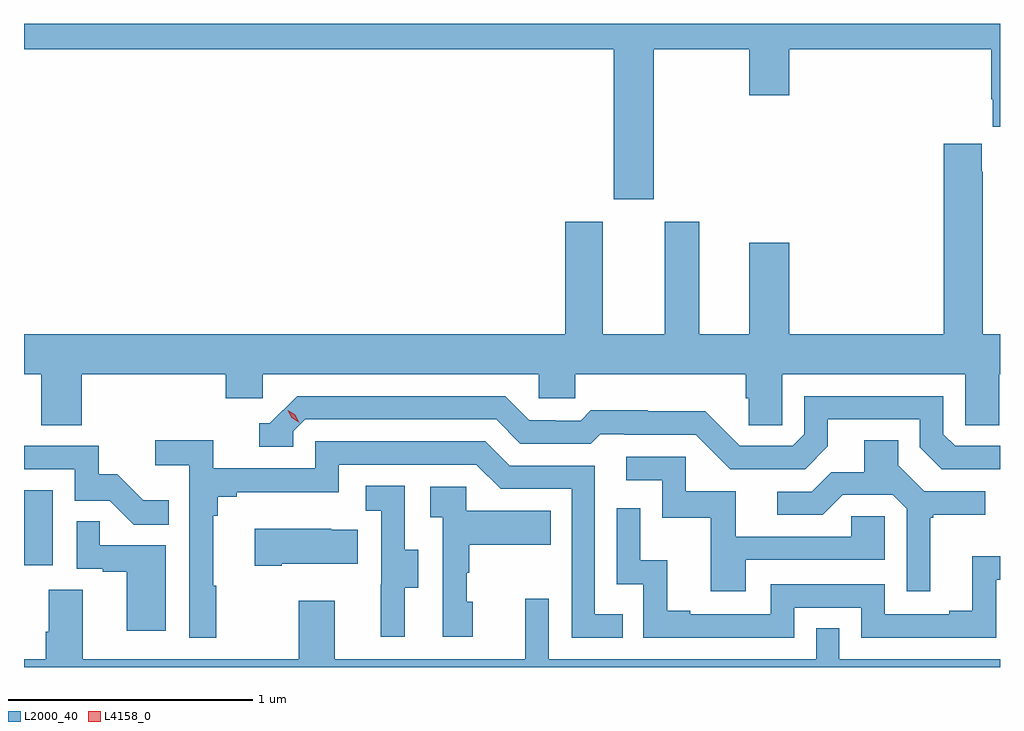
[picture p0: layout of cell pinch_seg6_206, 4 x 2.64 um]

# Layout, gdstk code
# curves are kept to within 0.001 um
import gdstk
lib = gdstk.Library(unit=1e-6, precision=1e-09)
def R(c, l, rs):  # rectangles x0, y0, x1, y1
    for r in rs: c.add(gdstk.rectangle(r[:2], r[2:], *l))
def P(c, l, *ps):  # polygons
    for p in ps: c.add(gdstk.Polygon(p, *l))
L2000_40 = (2000, 40)
L4158_0 = (4158, 0)

pinch_seg6_206 = lib.new_cell('pinch_seg6_206')
R(pinch_seg6_206, L2000_40, [(1025.172,915.918,1025.29,916.225)])
P(pinch_seg6_206, L2000_40, [(1025.172,918.032),(1027.589,918.032),(1027.589,917.418),(1027.753,917.418),(1027.753,918.032),(1028.144,918.032),(1028.144,917.844),(1028.308,917.844),(1028.308,918.032),(1029.137,918.032),(1029.137,917.827),(1029.143,917.827),(1029.143,917.715),(1029.172,917.715),(1029.172,918.136),(1025.172,918.136)],
  [(1025.408,916.7),(1025.999,916.7),(1025.999,916.602),(1026.15,916.602),(1026.15,916.7),(1027.281,916.7),(1027.281,916.602),(1027.431,916.602),(1027.431,916.7),(1028.129,916.7),(1028.129,916.602),(1028.143,916.602),(1028.143,916.492),(1028.28,916.492),(1028.28,916.7),(1029.03,916.7),(1029.03,916.492),(1029.169,916.492),(1029.169,916.7),(1029.172,916.7),(1029.172,916.864),(1029.102,916.864),(1029.102,917.531),(1029.097,917.531),(1029.097,917.644),(1028.942,917.644),(1028.942,916.864),(1028.308,916.864),(1028.308,917.239),(1028.144,917.239),(1028.144,916.864),(1027.939,916.864),(1027.939,917.326),(1027.799,917.326),(1027.799,916.864),(1027.543,916.864),(1027.543,917.326),(1027.391,917.326),(1027.391,916.864),(1025.172,916.864),(1025.172,916.7),(1025.243,916.7),(1025.243,916.492),(1025.408,916.492)],
  [(1029.172,916.407),(1028.988,916.407),(1028.94,916.455),(1028.94,916.611),(1028.37,916.611),(1028.37,916.455),(1028.322,916.407),(1028.106,916.407),(1027.964,916.549),(1027.728,916.549),(1027.728,916.552),(1027.495,916.552),(1027.453,916.509),(1027.35,916.509),(1027.35,916.512),(1027.243,916.512),(1027.144,916.611),(1026.291,916.611),(1026.18,916.5),(1026.137,916.5),(1026.137,916.404),(1026.276,916.404),(1026.276,916.467),(1026.324,916.515),(1027.107,916.515),(1027.206,916.416),(1027.495,916.416),(1027.534,916.455),(1027.633,916.455),(1027.633,916.452),(1027.926,916.452),(1028.067,916.311),(1028.373,916.311),(1028.467,916.405),(1028.467,916.515),(1028.844,916.515),(1028.844,916.401),(1028.934,916.311),(1029.172,916.31)],
  [(1028.887,916.113),(1028.899,916.113),(1028.899,916.124),(1029.112,916.124),(1029.112,916.221),(1028.862,916.221),(1028.755,916.328),(1028.755,916.43),(1028.615,916.43),(1028.615,916.298),(1028.48,916.298),(1028.4,916.218),(1028.259,916.218),(1028.259,916.125),(1028.446,916.125),(1028.527,916.206),(1028.733,916.206),(1028.79,916.149),(1028.79,915.81),(1028.887,915.81)],
  [(1025.959,915.833),(1025.947,915.833),(1025.947,916.121),(1025.966,916.121),(1025.966,916.198),(1026.043,916.198),(1026.043,916.217),(1026.462,916.217),(1026.462,916.329),(1027.026,916.329),(1027.125,916.23),(1027.416,916.23),(1027.416,915.621),(1027.625,915.621),(1027.625,915.717),(1027.512,915.717),(1027.512,916.326),(1027.162,916.326),(1027.063,916.425),(1026.366,916.425),(1026.366,916.314),(1025.948,916.314),(1025.948,916.43),(1025.709,916.43),(1025.709,916.328),(1025.85,916.328),(1025.85,915.621),(1025.959,915.621)],
  [(1025.765,916.183),(1025.661,916.183),(1025.554,916.29),(1025.478,916.29),(1025.478,916.407),(1025.172,916.407),(1025.172,916.311),(1025.379,916.311),(1025.379,916.182),(1025.523,916.182),(1025.621,916.084),(1025.765,916.084)],
  [(1028.131,915.939),(1028.7,915.939),(1028.7,916.119),(1028.563,916.119),(1028.563,916.035),(1028.089,916.035),(1028.089,916.221),(1027.884,916.221),(1027.884,916.362),(1027.641,916.362),(1027.641,916.266),(1027.788,916.266),(1027.788,916.113),(1027.987,916.113),(1027.987,915.81),(1028.131,915.81)],
  [(1026.733,915.826),(1026.787,915.826),(1026.787,915.981),(1026.732,915.981),(1026.732,916.244),(1026.573,916.244),(1026.573,916.141),(1026.636,916.141),(1026.636,915.837),(1026.635,915.837),(1026.635,915.624),(1026.733,915.624)],
  [(1027.012,915.768),(1026.987,915.768),(1026.987,915.887),(1026.997,915.887),(1026.997,916.001),(1027.331,916.001),(1027.331,916.141),(1026.984,916.141),(1026.984,916.239),(1026.837,916.239),(1026.837,916.115),(1026.888,916.115),(1026.888,915.624),(1027.012,915.624)],
  [(1028.328,915.744),(1028.604,915.744),(1028.604,915.621),(1029.156,915.621),(1029.156,915.857),(1029.172,915.857),(1029.172,915.955),(1029.059,915.955),(1029.059,915.73),(1028.963,915.73),(1028.963,915.717),(1028.7,915.717),(1028.7,915.84),(1028.232,915.84),(1028.232,915.717),(1027.903,915.717),(1027.903,915.73),(1027.808,915.73),(1027.808,915.938),(1027.698,915.938),(1027.698,916.15),(1027.602,916.15),(1027.602,915.84),(1027.71,915.84),(1027.71,915.621),(1028.328,915.621)],
  [(1025.752,915.999),(1025.483,915.999),(1025.483,916.097),(1025.388,916.097),(1025.388,915.903),(1025.495,915.903),(1025.495,915.891),(1025.594,915.891),(1025.594,915.648),(1025.752,915.648)],
  [(1026.229,915.923),(1026.539,915.923),(1026.539,916.063),(1026.431,916.063),(1026.431,916.066),(1026.117,916.066),(1026.117,915.916),(1026.229,915.916)],
  [(1029.172,915.532),(1028.514,915.532),(1028.514,915.659),(1028.418,915.659),(1028.418,915.532),(1027.323,915.532),(1027.323,915.781),(1027.226,915.781),(1027.226,915.532),(1026.445,915.532),(1026.445,915.772),(1026.298,915.772),(1026.298,915.532),(1025.413,915.532),(1025.413,915.818),(1025.273,915.818),(1025.273,915.644),(1025.261,915.644),(1025.261,915.532),(1025.172,915.532),(1025.172,915.5),(1029.172,915.5)])
P(pinch_seg6_206, L4158_0, [(1026.3,916.501),(1026.269,916.521),(1026.253,916.553),(1026.253,916.553),(1026.253,916.553),(1026.284,916.534),(1026.3,916.502),(1026.3,916.501)])

lib.write_gds('pinch_seg6_206.gds')
